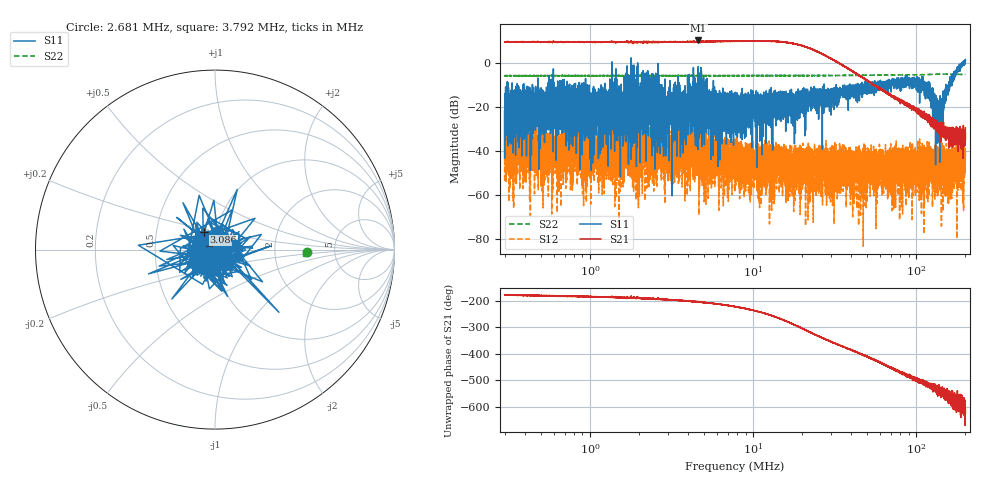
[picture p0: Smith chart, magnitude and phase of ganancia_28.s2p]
# Hz S DB R 50
! CMT, M5065, 19127446, 24.2.4/2
! Date: 11/1/2024 4:31:24 PM
! Data: Format (Calibration Info)
! Freq	S11:dB/Ang(F2)	S21:dB/Ang(F2)	S12:dB/Ang(F2)	S22:dB/Ang(F2)
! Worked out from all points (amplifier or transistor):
!   9000 points, 300 kHz to 200 MHz, reference 50 ohm
!   highest |S21| = 10.1 dB at 4.606 MHz (marker M1)
!   |S21| within 3 dB of that: start of sweep to 20.96 MHz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
!   unconditionally stable (mu >= 1): start of sweep to 1.364 MHz; 1.962 MHz to 190.7 MHz; 192.5926 MHz to 193.3539 MHz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
!   at 886.8 kHz: K = 10.27, MAG = 10.7 dB, |S12| = -38.3 dB
!   at 7.749 MHz: K = 11.23, MAG = 11.0 dB, |S12| = -39.3 dB
!   at 200 MHz: K = -248.96, MSG = 4.6 dB, |S12| = -38.8 dB
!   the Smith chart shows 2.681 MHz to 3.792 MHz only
!   S11 on the Smith chart (normalised r, x): 2.681 MHz: 0.85, -0.06; 3.086 MHz: 0.87, +0.17; 3.792 MHz: 1.25, +0.09
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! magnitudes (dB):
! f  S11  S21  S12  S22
! 300 kHz  -21.9  9.4  -43.5  -5.9
! 312.2 kHz  -11.3  9.6  -36.7  -5.8
! 516.5 kHz  -19.1  9.5  -41.1  -5.8
! 678.3 kHz  -13.7  9.3  -27.2  -5.8
! 886.8 kHz  -23.6  9.4  -38.3  -5.9
! 1.547 MHz  -32.9  9.4  -39.6  -5.9
! 2.264 MHz  -3.6  9.0  -41.9  -5.9
! 2.621 MHz  -19.3  9.4  -41.7  -5.8
! 2.681 MHz  -21.4  9.4  -40.5  -5.8
! 3.086 MHz  -18.7  9.4  -39.0  -5.9
! 3.792 MHz  -18.5  9.3  -40.9  -5.9
! 4.088 MHz  -16.7  9.5  -52.6  -5.9
! 4.606 MHz  -1.8  10.1  -37.9  -5.8
! 7.749 MHz  -28.0  9.7  -39.3  -5.9
! 22.91 MHz  -15.0  6.2  -58.5  -5.9
! 67.71 MHz  -9.6  -13.9  -43.7  -5.6
! 109.8 MHz  -11.1  -23.9  -48.2  -5.4
! 121.7 MHz  -17.5  -28.2  -44.0  -5.3
! 138 MHz  -18.8  -27.5  -55.3  -5.2
! 165.5 MHz  -7.4  -34.4  -46.2  -5.2
! 193.5 MHz  0.2  -30.6  -54.2  -5.3
! 200 MHz  1.0  -29.5  -38.8  -5.3
